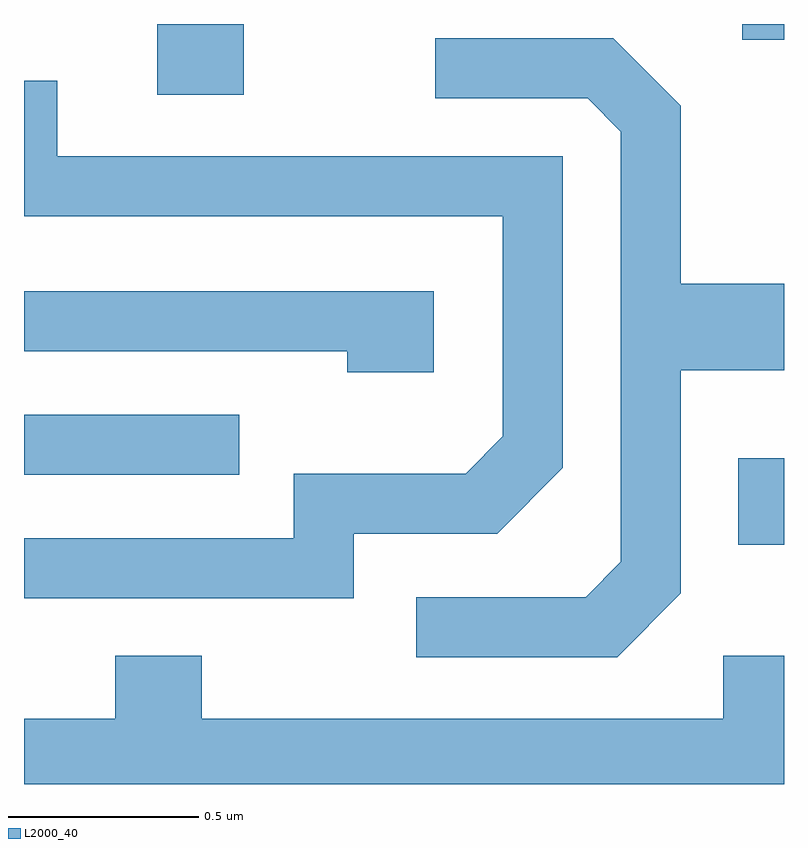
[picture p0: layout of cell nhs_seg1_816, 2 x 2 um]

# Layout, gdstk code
import gdstk
lib = gdstk.Library(unit=1e-6, precision=1e-09)
def R(c, l, rs):  # rectangles x0, y0, x1, y1
    for r in rs: c.add(gdstk.rectangle(r[:2], r[2:], *l))
def P(c, l, *ps):  # polygons
    for p in ps: c.add(gdstk.Polygon(p, *l))
L2000_40 = (2000, 40)

nhs_seg1_816 = lib.new_cell('nhs_seg1_816')
R(nhs_seg1_816, L2000_40, [(192.491,971.341,192.611,971.569), (190.611,971.526,191.178,971.684), (190.961,972.526,191.189,972.712), (192.501,972.671,192.611,972.712)])
P(nhs_seg1_816, L2000_40, [(192.339,971.214),(192.339,971.801),(192.611,971.801),(192.611,972.029),(192.339,972.029),(192.339,972.497),(192.162,972.674),(191.693,972.674),(191.693,972.516),(192.094,972.516),(192.181,972.429),(192.181,971.297),(192.089,971.204),(191.643,971.204),(191.643,971.046),(192.172,971.046)],
  [(191.479,971.371),(191.857,971.371),(192.029,971.544),(192.029,972.364),(190.699,972.364),(190.699,972.563),(190.611,972.563),(190.611,972.206),(191.871,972.206),(191.871,971.627),(191.774,971.529),(191.321,971.529),(191.321,971.359),(190.611,971.359),(190.611,971.201),(191.479,971.201)],
  [(191.689,972.009),(190.611,972.009),(190.611,971.851),(191.461,971.851),(191.461,971.796),(191.689,971.796)],
  [(192.611,971.049),(192.451,971.049),(192.451,970.884),(191.079,970.884),(191.079,971.049),(190.851,971.049),(190.851,970.884),(190.611,970.884),(190.611,970.712),(192.611,970.712)])

lib.write_gds('nhs_seg1_816.gds')
